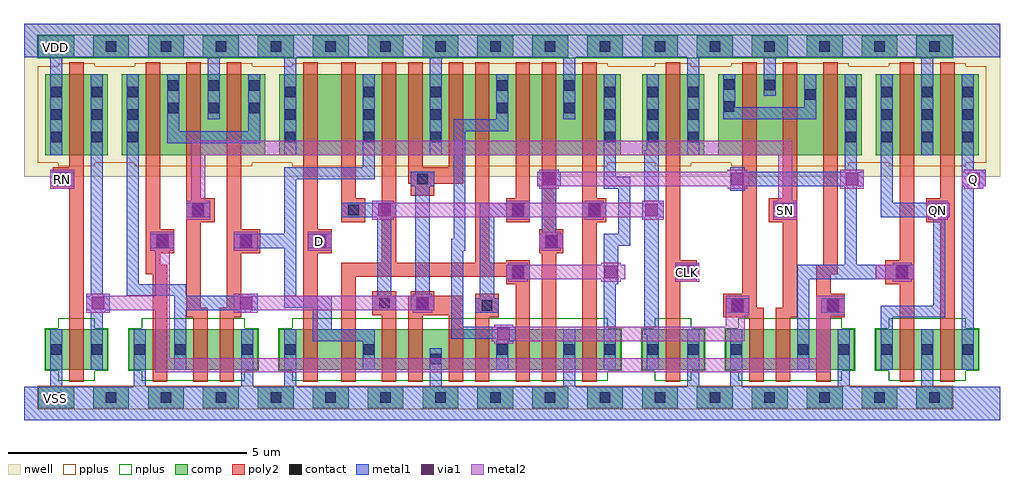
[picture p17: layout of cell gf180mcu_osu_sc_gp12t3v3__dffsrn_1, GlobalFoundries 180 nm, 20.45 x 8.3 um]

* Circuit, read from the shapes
.subckt gf180mcu_osu_sc_gp12t3v3__dffsrn_1 CLK D Q QN RN SN VDD VSS
XM1 n1 RN VSS VSS nfet_03v3 w=0.85u l=0.3u
XM2 n2 n1 VSS VSS nfet_03v3 w=0.85u l=0.3u
XM3 n3 SN n2 VSS nfet_03v3 w=0.85u l=0.3u
XM4 VSS n4 n3 VSS nfet_03v3 w=0.85u l=0.3u
XM5 n5 D VSS VSS nfet_03v3 w=0.85u l=0.3u
XM6 n4 n6 n5 VSS nfet_03v3 w=0.85u l=0.3u
XM7 n7 n8 n4 VSS nfet_03v3 w=0.85u l=0.3u
XM8 VSS n2 n7 VSS nfet_03v3 w=0.85u l=0.3u
XM9 n9 n2 VSS VSS nfet_03v3 w=0.85u l=0.3u
XM10 n10 n8 n9 VSS nfet_03v3 w=0.85u l=0.3u
XM11 n11 n6 n10 VSS nfet_03v3 w=0.85u l=0.3u
XM12 VSS n12 n11 VSS nfet_03v3 w=0.85u l=0.3u
XM13 n6 n8 VSS VSS nfet_03v3 w=0.85u l=0.3u
XM14 VSS CLK n8 VSS nfet_03v3 w=0.85u l=0.3u
XM15 n13 n10 VSS VSS nfet_03v3 w=0.85u l=0.3u
XM16 n12 SN n13 VSS nfet_03v3 w=0.85u l=0.3u
XM17 VSS n1 n12 VSS nfet_03v3 w=0.85u l=0.3u
XM18 VSS n12 QN VSS nfet_03v3 w=0.85u l=0.3u
XM19 Q QN VSS VSS nfet_03v3 w=0.85u l=0.3u
XM20 n1 RN VDD VDD pfet_03v3 w=1.7u l=0.3u
XM21 n14 n1 n2 VDD pfet_03v3 w=1.7u l=0.3u
XM22 VDD SN n14 VDD pfet_03v3 w=1.7u l=0.3u
XM23 n14 n4 VDD VDD pfet_03v3 w=1.7u l=0.3u
XM24 n15 D VDD VDD pfet_03v3 w=1.7u l=0.3u
XM25 n4 n8 n15 VDD pfet_03v3 w=1.7u l=0.3u
XM26 n16 n6 n4 VDD pfet_03v3 w=1.7u l=0.3u
XM27 VDD n2 n16 VDD pfet_03v3 w=1.7u l=0.3u
XM28 n17 n2 VDD VDD pfet_03v3 w=1.7u l=0.3u
XM29 n10 n6 n17 VDD pfet_03v3 w=1.7u l=0.3u
XM30 n18 n8 n10 VDD pfet_03v3 w=1.7u l=0.3u
XM31 VDD n12 n18 VDD pfet_03v3 w=1.7u l=0.3u
XM32 n6 n8 VDD VDD pfet_03v3 w=1.7u l=0.3u
XM33 VDD CLK n8 VDD pfet_03v3 w=1.7u l=0.3u
XM34 VDD n10 n19 VDD pfet_03v3 w=1.7u l=0.3u
XM35 n19 SN VDD VDD pfet_03v3 w=1.7u l=0.3u
XM36 n12 n1 n19 VDD pfet_03v3 w=1.7u l=0.3u
XM37 VDD n12 QN VDD pfet_03v3 w=1.7u l=0.3u
XM38 Q QN VDD VDD pfet_03v3 w=1.7u l=0.3u
.ends

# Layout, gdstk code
import gdstk
lib = gdstk.Library(unit=1e-6, precision=1e-09)
def R(c, l, rs):  # rectangles x0, y0, x1, y1
    for r in rs: c.add(gdstk.rectangle(r[:2], r[2:], *l))
def A(c, l, x, y, w, h, nx, ny, dx, dy):  # array of equal rectangles
    R(c, l, [(x+i*dx, y+j*dy, x+i*dx+w, y+j*dy+h) for i in range(nx) for j in range(ny)])
nwell = (21, 0)
comp = (22, 0)
poly2 = (30, 0)
pplus = (31, 0)
nplus = (32, 0)
contact = (33, 0)
metal1 = (34, 0)
via1 = (35, 0)
metal2 = (36, 0)

gf180mcu_osu_sc_gp12t3v3 = lib.new_cell('gf180mcu_osu_sc_gp12t3v3__dffsrn_1')
R(gf180mcu_osu_sc_gp12t3v3, nwell, [(0,5.1,20.45,8.3)])
A(gf180mcu_osu_sc_gp12t3v3, comp, 0.3, 0.25, 0.75, 0.45, 17, 2, 1.15, 7.35)
R(gf180mcu_osu_sc_gp12t3v3, comp, [(0.45,1.05,1.75,1.9), (2.2,1.05,4.9,1.9), (5.35,1.05,12.5,1.9), (12.95,1.05,14.25,1.9), (14.7,1.05,17.4,1.9), (17.85,1.05,20,1.9), (0.45,5.55,1.75,7.25), (2.05,5.55,5.05,7.25), (5.35,5.55,12.5,7.25), (12.95,5.55,14.25,7.25), (14.55,5.55,17.55,7.25), (17.85,5.55,20,7.25)])
R(gf180mcu_osu_sc_gp12t3v3, poly2, [(0.95,0.8,1.25,4.85), (2.7,0.8,3,3.05), (3.55,0.8,3.85,2.15), (4.1,0.8,4.4,2.15), (5.85,0.8,6.15,3.5), (6.65,0.8,6.95,3), (7.5,0.8,7.8,2.2), (8.05,0.8,8.35,2.2), (8.9,0.8,9.2,2.2), (9.45,0.8,9.75,2.15), (10.3,0.8,10.6,2.85), (10.85,0.8,11.15,3.5), (11.7,0.8,12,4.15), (13.45,0.8,13.75,2.9), (15.2,0.8,15.5,2.15), (15.75,0.8,16.05,2.15), (16.6,0.8,16.9,2.15), (18.35,0.8,18.65,2.85), (19.2,0.8,19.5,4.15), (3.4,2.15,3.85,2.35), (4.1,2.15,4.55,2.35), (9.45,2.15,9.95,2.65), (14.65,2.15,15.5,2.35), (15.75,2.15,16.2,2.35), (16.6,2.15,17.2,2.65), (7.3,2.2,7.8,2.7), (8.05,2.2,9.2,2.6), (3.4,2.35,3.7,4.15), (4.25,2.35,4.55,3.5), (14.65,2.35,15.35,2.65), (15.9,2.35,16.2,4.15), (8.1,2.6,8.6,2.7), (15.05,2.65,15.35,7.5), (16.6,2.65,16.9,3.05), (10.1,2.85,10.6,3), (18.05,2.85,18.65,3.35), (13.45,2.9,14.1,3.35), (6.65,3,10.6,3.3), (2.55,3.05,3,3.25), (16.6,3.05,17.05,3.25), (2.55,3.25,2.85,3.5), (16.75,3.25,17.05,7.5), (7.5,3.3,7.8,7.5), (9.45,3.3,9.75,7.5), (10.1,3.3,10.6,3.35), (13.45,3.35,13.75,7.5), (18.35,3.35,18.65,7.5), (2.55,3.5,3.15,4), (4.25,3.5,4.95,4), (5.85,3.5,6.45,4), (10.8,3.5,11.3,4), (2.55,4,2.85,7.5), (4.25,4,4.55,7.5), (5.85,4,6.15,7.5), (10.85,4,11.15,7.5), (3.4,4.15,4,4.65), (6.65,4.15,7.15,4.65), (10.1,4.15,10.6,4.65), (11.7,4.15,12.2,4.65), (15.6,4.15,16.2,4.65), (18.9,4.15,19.5,4.65), (3.4,4.65,3.7,7.5), (6.65,4.65,6.95,7.5), (10.3,4.65,10.6,7.5), (11.7,4.65,12,7.5), (15.9,4.65,16.2,7.5), (19.2,4.65,19.5,7.5), (8.1,4.7,8.6,4.95), (0.6,4.85,1.25,5.3), (8.05,4.95,9.2,5.3), (0.95,5.3,1.25,7.5), (8.05,5.3,8.35,7.5), (8.9,5.3,9.2,7.5)])
R(gf180mcu_osu_sc_gp12t3v3, pplus, [(0.28,0.23,19.47,0.72), (0.72,5.32,1.48,5.39), (2.32,5.32,4.78,5.39), (5.62,5.32,12.23,5.39), (13.22,5.32,13.98,5.39), (14.82,5.32,17.28,5.39), (18.12,5.32,19.73,5.39), (0.29,5.39,20.16,7.41), (0.72,7.41,1.48,7.48), (2.32,7.41,4.78,7.48), (5.62,7.41,12.23,7.48), (13.22,7.41,13.98,7.48), (14.82,7.41,17.28,7.48), (18.12,7.41,19.73,7.48)])
R(gf180mcu_osu_sc_gp12t3v3, nplus, [(0.72,0.82,1.48,1.03), (2.47,0.82,4.63,1.03), (5.62,0.82,12.23,1.03), (13.22,0.82,13.98,1.03), (14.97,0.82,17.13,1.03), (18.12,0.82,19.73,1.03), (0.43,1.03,1.77,1.92), (2.18,1.03,4.92,1.92), (5.33,1.03,12.52,1.92), (12.93,1.03,14.27,1.92), (14.68,1.03,17.42,1.92), (17.83,1.03,20.02,1.92), (0.72,1.92,1.48,2.13), (2.47,1.92,4.63,2.13), (5.62,1.92,12.23,2.13), (13.22,1.92,13.98,2.13), (14.97,1.92,17.13,2.13), (18.12,1.92,19.73,2.13), (0.28,7.58,19.47,8.07)])
A(gf180mcu_osu_sc_gp12t3v3, contact, 0.565, 0.365, 0.22, 0.22, 17, 2, 1.15, 7.35)
A(gf180mcu_osu_sc_gp12t3v3, contact, 17.965, 1.365, 0.22, 0.22, 3, 2, 0.85, 4.455)
A(gf180mcu_osu_sc_gp12t3v3, contact, 0.565, 5.82, 0.22, 0.22, 1, 3, 0, 0.47)
A(gf180mcu_osu_sc_gp12t3v3, contact, 1.415, 5.82, 0.22, 0.22, 1, 3, 0, 0.47)
A(gf180mcu_osu_sc_gp12t3v3, contact, 2.165, 5.82, 0.22, 0.22, 1, 3, 0, 0.47)
A(gf180mcu_osu_sc_gp12t3v3, contact, 5.465, 5.82, 0.22, 0.22, 1, 3, 0, 0.47)
A(gf180mcu_osu_sc_gp12t3v3, contact, 7.115, 5.82, 0.22, 0.22, 1, 3, 0, 0.47)
A(gf180mcu_osu_sc_gp12t3v3, contact, 8.515, 5.82, 0.22, 0.22, 1, 3, 0, 0.47)
A(gf180mcu_osu_sc_gp12t3v3, contact, 12.165, 5.82, 0.22, 0.22, 1, 3, 0, 0.47)
A(gf180mcu_osu_sc_gp12t3v3, contact, 13.065, 5.82, 0.22, 0.22, 1, 3, 0, 0.47)
A(gf180mcu_osu_sc_gp12t3v3, contact, 13.915, 5.82, 0.22, 0.22, 1, 3, 0, 0.47)
A(gf180mcu_osu_sc_gp12t3v3, contact, 17.215, 5.82, 0.22, 0.22, 1, 3, 0, 0.47)
A(gf180mcu_osu_sc_gp12t3v3, contact, 17.965, 6.29, 0.22, 0.22, 3, 2, 0.85, 0.47)
A(gf180mcu_osu_sc_gp12t3v3, contact, 3.015, 6.43, 0.22, 0.22, 3, 2, 0.85, 0.47)
R(gf180mcu_osu_sc_gp12t3v3, contact, [(8.515,1.165,8.735,1.385), (0.565,1.365,0.785,1.585), (1.415,1.365,1.635,1.585), (2.315,1.365,2.535,1.585), (3.165,1.365,3.385,1.585), (4.565,1.365,4.785,1.585), (5.465,1.365,5.685,1.585), (7.115,1.365,7.335,1.585), (9.915,1.365,10.135,1.585), (11.315,1.365,11.535,1.585), (12.165,1.365,12.385,1.585), (13.065,1.365,13.285,1.585), (13.915,1.365,14.135,1.585), (14.815,1.365,15.035,1.585), (16.215,1.365,16.435,1.585), (17.065,1.365,17.285,1.585), (9.59,2.29,9.81,2.51), (14.84,2.29,15.06,2.51), (16.84,2.29,17.06,2.51), (7.44,2.34,7.66,2.56), (8.24,2.34,8.46,2.56), (10.24,2.99,10.46,3.21), (18.29,2.99,18.51,3.21), (13.765,3.015,13.985,3.235), (2.79,3.64,3.01,3.86), (4.54,3.64,4.76,3.86), (6.09,3.64,6.31,3.86), (10.94,3.64,11.16,3.86), (3.54,4.29,3.76,4.51), (6.79,4.29,7.01,4.51), (10.24,4.29,10.46,4.51), (11.84,4.29,12.06,4.51), (15.84,4.29,16.06,4.51), (19.04,4.29,19.26,4.51), (8.24,4.94,8.46,5.16), (0.715,4.965,0.935,5.185), (9.915,6.43,10.135,6.65), (11.315,6.43,11.535,6.65), (14.665,6.455,14.885,6.675), (16.365,6.715,16.585,6.935), (9.915,6.9,10.135,7.12), (11.315,6.9,11.535,7.12), (15.515,6.915,15.735,7.135), (14.665,6.925,14.885,7.145)])
R(gf180mcu_osu_sc_gp12t3v3, metal1, [(0,0,20.45,0.7), (0.55,0.7,0.8,1.9), (2.3,0.7,2.55,1.9), (4.55,0.7,4.8,1.9), (5.45,0.7,5.7,1.9), (8.5,0.7,8.75,1.5), (11.3,0.7,11.55,1.9), (13.9,0.7,14.15,1.9), (14.8,0.7,15.05,1.9), (17.05,0.7,17.3,1.9), (18.8,0.7,19.05,1.9), (1.4,1.05,1.65,2.25), (3.15,1.05,3.4,2.3), (7.1,1.05,7.35,1.65), (9.9,1.05,10.15,1.65), (12.15,1.05,12.4,2.85), (13.05,1.05,13.3,1.8), (16.2,1.05,16.45,2.95), (17.95,1.05,18.2,2.15), (19.65,1.05,19.9,4.85), (6.05,1.65,7.35,1.9), (9.9,1.65,10.3,1.7), (8.95,1.7,10.3,1.95), (13,1.8,13.3,4.25), (6.05,1.9,6.45,2.35), (8.95,1.95,9.2,3.55), (17.95,2.15,19.3,2.4), (1.4,2.25,1.7,2.3), (4.5,2.25,4.75,2.3), (9.45,2.25,9.95,2.55), (14.7,2.25,15.2,2.55), (16.7,2.25,17.2,2.55), (1.3,2.3,1.8,2.6), (3.15,2.3,4.9,2.6), (7.3,2.3,7.8,2.6), (8.1,2.3,8.6,2.6), (5.45,2.35,6.45,2.6), (19.05,2.4,19.3,4.25), (9.55,2.55,9.85,4.25), (1.4,2.6,1.65,7.25), (2.15,2.6,3.4,2.85), (4.5,2.6,4.75,2.65), (5.45,2.6,5.7,3.6), (7.4,2.6,7.7,4.25), (8.2,2.6,8.5,4.9), (2.15,2.85,2.4,7.25), (12.15,2.85,12.45,3.65), (10.1,2.95,10.6,3.25), (13.65,2.95,14.15,3.25), (16.2,2.95,18.65,3.25), (17.2,3.25,17.45,4.9), (8.95,3.55,9.25,3.8), (2.65,3.6,3.15,3.9), (4.4,3.6,5.7,3.9), (5.95,3.6,6.45,3.9), (10.8,3.6,11.3,3.9), (12.15,3.65,12.7,3.9), (9,3.8,9.25,6.05), (5.45,3.9,5.7,5.05), (10.85,3.9,11.15,4.9), (12.45,3.9,12.7,4.85), (3.4,4.25,3.9,4.55), (6.65,4.25,7.8,4.55), (9.55,4.25,10.6,4.55), (11.7,4.25,12.2,4.55), (12.95,4.25,13.4,4.55), (15.7,4.25,16.2,4.55), (17.95,4.25,19.4,4.55), (13,4.55,13.3,5.65), (17.95,4.55,18.2,7.25), (14.8,4.8,15.1,4.9), (12.15,4.85,12.7,5.1), (19.65,4.85,20.1,4.9), (0.55,4.9,1.05,5.2), (8.1,4.9,8.6,5.2), (10.75,4.9,11.25,5.2), (14.8,4.9,17.6,5.2), (19.65,4.9,20.15,5.25), (5.45,5.05,7.35,5.3), (12.15,5.1,12.4,7.25), (14.8,5.2,15.1,5.3), (17.2,5.2,17.45,7.25), (19.65,5.25,19.9,7.25), (7.1,5.3,7.35,7.25), (0.55,5.55,0.8,7.6), (5.45,5.55,5.7,7.6), (8.5,5.55,8.75,7.6), (13.9,5.55,14.15,7.6), (18.8,5.55,19.05,7.6), (13.05,5.65,13.3,7.25), (3,5.8,4.95,6.05), (3,6.05,3.25,7.25), (4.7,6.05,4.95,7.25), (9,6.05,10.15,6.3), (3.85,6.3,4.1,7.6), (9.9,6.3,10.15,7.25), (11.3,6.3,11.55,7.6), (14.65,6.3,16.6,6.55), (14.65,6.55,14.9,7.25), (16.35,6.55,16.6,7.25), (15.5,6.8,15.75,7.6), (0,7.6,20.45,8.3)])
R(gf180mcu_osu_sc_gp12t3v3, via1, [(9.92,1.67,10.18,1.93), (14.82,2.27,15.08,2.53), (16.82,2.27,17.08,2.53), (1.42,2.32,1.68,2.58), (4.52,2.32,4.78,2.58), (8.22,2.32,8.48,2.58), (10.22,2.97,10.48,3.23), (12.17,2.97,12.43,3.23), (13.77,2.97,14.03,3.23), (18.27,2.97,18.53,3.23), (2.77,3.62,3.03,3.88), (4.52,3.62,4.78,3.88), (6.07,3.62,6.33,3.88), (10.92,3.62,11.18,3.88), (3.52,4.27,3.78,4.53), (7.42,4.27,7.68,4.53), (10.22,4.27,10.48,4.53), (11.82,4.27,12.08,4.53), (13.02,4.27,13.28,4.53), (15.82,4.27,16.08,4.53), (19.02,4.27,19.28,4.53), (0.67,4.92,0.93,5.18), (10.87,4.92,11.13,5.18), (14.82,4.92,15.08,5.18), (17.22,4.92,17.48,5.18), (19.77,4.92,20.03,5.18)])
R(gf180mcu_osu_sc_gp12t3v3, metal2, [(2.75,1,16.9,1.3), (2.75,1.3,3.05,2.3), (16.6,1.3,16.9,2.2), (9.85,1.6,10.25,1.65), (9.8,1.65,15.1,1.95), (9.85,1.95,10.25,2), (14.7,1.95,15.1,2.2), (14.7,2.2,15.2,2.6), (16.6,2.2,17.2,2.6), (1.3,2.25,1.8,2.3), (4.4,2.25,4.9,2.3), (8.15,2.25,8.55,2.3), (1.3,2.3,3.05,2.6), (4.4,2.3,8.6,2.6), (1.3,2.6,1.8,2.65), (2.75,2.6,3.05,3.55), (4.4,2.6,4.9,2.65), (8.15,2.6,8.55,2.65), (10.15,2.9,10.55,2.95), (12.1,2.9,12.5,2.95), (13.65,2.9,14.15,3.3), (18.2,2.9,18.6,2.95), (10.1,2.95,12.6,3.25), (17.85,2.95,18.65,3.25), (10.15,3.25,10.55,3.3), (12.1,3.25,12.5,3.3), (18.2,3.25,18.6,3.3), (2.65,3.55,3.15,3.95), (4.4,3.55,4.9,3.95), (5.95,3.55,6.45,3.95), (10.85,3.55,11.25,3.6), (10.8,3.6,11.3,3.9), (10.85,3.9,11.25,3.95), (3.4,4.2,3.9,4.6), (7.3,4.2,7.75,4.25), (10.1,4.2,10.6,4.25), (11.75,4.2,12.15,4.25), (12.95,4.2,13.4,4.25), (15.7,4.2,16.2,4.6), (18.95,4.2,19.35,4.25), (7.3,4.25,13.4,4.55), (18.9,4.25,19.4,4.55), (7.3,4.55,7.75,4.6), (10.1,4.55,10.6,4.6), (11.75,4.55,12.15,4.6), (12.95,4.55,13.4,4.6), (18.95,4.55,19.35,4.6), (3.5,4.6,3.8,5.55), (15.8,4.6,16.1,5.55), (0.55,4.85,1.05,5.25), (10.8,4.85,11.2,4.9), (14.75,4.85,15.15,4.9), (17.1,4.85,17.6,5.25), (19.7,4.85,20.1,4.9), (10.75,4.9,15.2,5.2), (19.65,4.9,20.15,5.2), (10.8,5.2,11.2,5.25), (14.75,5.2,15.15,5.25), (19.7,5.2,20.1,5.25), (3.5,5.55,16.1,5.85)])
gf180mcu_osu_sc_gp12t3v3.add(gdstk.Label('D', (6.2,3.75), layer=36, texttype=10))
gf180mcu_osu_sc_gp12t3v3.add(gdstk.Label('Q', (19.9,5.05), layer=36, texttype=10))
gf180mcu_osu_sc_gp12t3v3.add(gdstk.Label('QN', (19.15,4.4), layer=36, texttype=10))
gf180mcu_osu_sc_gp12t3v3.add(gdstk.Label('CLK', (13.9,3.1), layer=36, texttype=10))
gf180mcu_osu_sc_gp12t3v3.add(gdstk.Label('RN', (0.8,5.05), layer=36, texttype=10))
gf180mcu_osu_sc_gp12t3v3.add(gdstk.Label('SN', (15.95,4.4), layer=36, texttype=10))
gf180mcu_osu_sc_gp12t3v3.add(gdstk.Label('VDD', (0.65,7.8), layer=34, texttype=10))
gf180mcu_osu_sc_gp12t3v3.add(gdstk.Label('VSS', (0.65,0.45), layer=34, texttype=10))

lib.write_gds('gf180mcu_osu_sc_gp12t3v3__dffsrn_1.gds')
